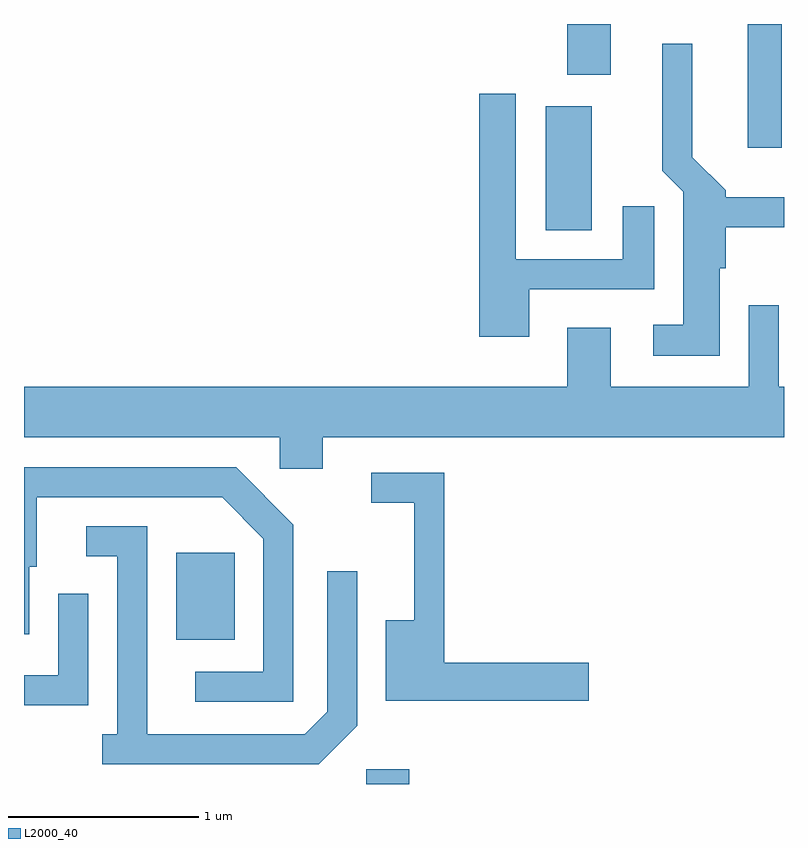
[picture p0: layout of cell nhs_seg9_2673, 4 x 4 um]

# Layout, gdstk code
import gdstk
lib = gdstk.Library(unit=1e-6, precision=1e-09)
def R(c, l, rs):  # rectangles x0, y0, x1, y1
    for r in rs: c.add(gdstk.rectangle(r[:2], r[2:], *l))
def P(c, l, *ps):  # polygons
    for p in ps: c.add(gdstk.Polygon(p, *l))
L2000_40 = (2000, 40)

nhs_seg9_2673 = lib.new_cell('nhs_seg9_2673')
R(nhs_seg9_2673, L2000_40, [(265.411,1994.432,265.639,1994.509), (264.411,1995.191,264.719,1995.649), (266.356,1997.346,266.599,1997.999), (267.421,1997.781,267.599,1998.432), (266.471,1998.166,266.699,1998.432)])
P(nhs_seg9_2673, L2000_40, [(267.274,1997.146),(267.304,1997.146),(267.304,1997.361),(267.611,1997.361),(267.611,1997.519),(267.304,1997.519),(267.304,1997.557),(267.129,1997.732),(267.129,1998.328),(266.971,1998.328),(266.971,1997.659),(267.081,1997.549),(267.081,1996.849),(266.923,1996.849),(266.923,1996.686),(267.274,1996.686)],
  [(266.269,1997.036),(266.929,1997.036),(266.929,1997.473),(266.761,1997.473),(266.761,1997.194),(266.199,1997.194),(266.199,1998.064),(266.006,1998.064),(266.006,1996.786),(266.269,1996.786)],
  [(265.184,1996.256),(267.611,1996.256),(267.611,1996.524),(267.584,1996.524),(267.584,1996.953),(267.426,1996.953),(267.426,1996.524),(266.699,1996.524),(266.699,1996.834),(266.471,1996.834),(266.471,1996.524),(263.611,1996.524),(263.611,1996.256),(264.956,1996.256),(264.956,1996.091),(265.184,1996.091)],
  [(265.029,1995.797),(264.727,1996.099),(263.611,1996.099),(263.611,1995.221),(263.639,1995.221),(263.639,1995.576),(263.679,1995.576),(263.679,1995.941),(264.654,1995.941),(264.871,1995.724),(264.871,1995.024),(264.513,1995.024),(264.513,1994.866),(265.029,1994.866)],
  [(266.584,1995.069),(265.824,1995.069),(265.824,1996.069),(265.438,1996.069),(265.438,1995.911),(265.666,1995.911),(265.666,1995.294),(265.516,1995.294),(265.516,1994.871),(266.584,1994.871)],
  [(265.364,1994.739),(265.364,1995.553),(265.206,1995.553),(265.206,1994.812),(265.089,1994.694),(264.259,1994.694),(264.259,1995.789),(263.938,1995.789),(263.938,1995.631),(264.101,1995.631),(264.101,1994.694),(264.023,1994.694),(264.023,1994.536),(265.162,1994.536)],
  [(263.949,1995.433),(263.791,1995.433),(263.791,1995.004),(263.611,1995.004),(263.611,1994.846),(263.949,1994.846)])

lib.write_gds('nhs_seg9_2673.gds')
